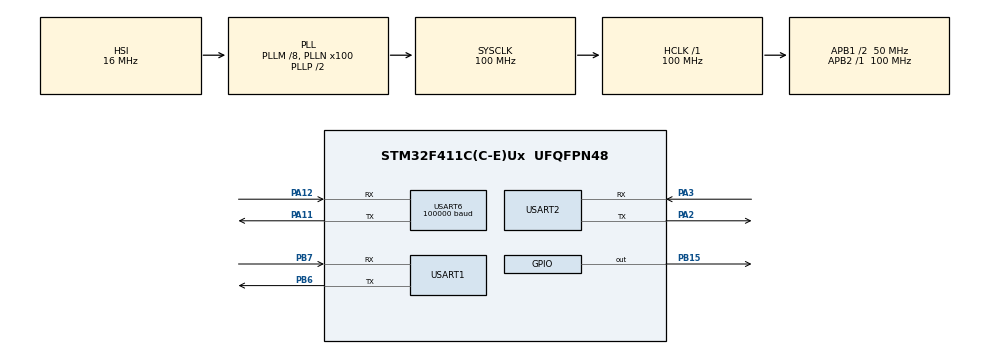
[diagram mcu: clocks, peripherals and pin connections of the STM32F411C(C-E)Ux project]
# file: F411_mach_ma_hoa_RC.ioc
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Dma.Request0=USART6_RX
Dma.Request1=USART1_TX
Dma.Request2=USART1_RX
Dma.USART1_RX.2.Direction=DMA_PERIPH_TO_MEMORY
Dma.USART1_RX.2.FIFOMode=DMA_FIFOMODE_DISABLE
Dma.USART1_RX.2.Instance=DMA2_Stream2
Dma.USART1_RX.2.MemDataAlignment=DMA_MDATAALIGN_BYTE
Dma.USART1_RX.2.MemInc=DMA_MINC_ENABLE
Dma.USART1_RX.2.Mode=DMA_NORMAL
Dma.USART1_RX.2.PeriphDataAlignment=DMA_PDATAALIGN_BYTE
Dma.USART1_RX.2.PeriphInc=DMA_PINC_DISABLE
Dma.USART1_RX.2.Priority=DMA_PRIORITY_LOW
Dma.USART1_TX.1.Direction=DMA_MEMORY_TO_PERIPH
Dma.USART1_TX.1.FIFOMode=DMA_FIFOMODE_DISABLE
Dma.USART1_TX.1.Instance=DMA2_Stream7
Dma.USART1_TX.1.MemDataAlignment=DMA_MDATAALIGN_BYTE
Dma.USART1_TX.1.MemInc=DMA_MINC_ENABLE
Dma.USART1_TX.1.Mode=DMA_NORMAL
Dma.USART1_TX.1.PeriphDataAlignment=DMA_PDATAALIGN_BYTE
Dma.USART1_TX.1.PeriphInc=DMA_PINC_DISABLE
Dma.USART1_TX.1.Priority=DMA_PRIORITY_LOW
Dma.USART6_RX.0.Direction=DMA_PERIPH_TO_MEMORY
Dma.USART6_RX.0.FIFOMode=DMA_FIFOMODE_DISABLE
Dma.USART6_RX.0.Instance=DMA2_Stream1
Dma.USART6_RX.0.MemDataAlignment=DMA_MDATAALIGN_BYTE
Dma.USART6_RX.0.MemInc=DMA_MINC_ENABLE
Dma.USART6_RX.0.Mode=DMA_CIRCULAR
Dma.USART6_RX.0.PeriphDataAlignment=DMA_PDATAALIGN_BYTE
Dma.USART6_RX.0.PeriphInc=DMA_PINC_DISABLE
Dma.USART6_RX.0.Priority=DMA_PRIORITY_LOW
Mcu.Family=STM32F4
Mcu.Name=STM32F411C(C-E)Ux
Mcu.Package=UFQFPN48
NVIC.DMA2_Stream1_IRQn=true\:0\:0\:false\:false\:true\:false\:true\:true
NVIC.DMA2_Stream2_IRQn=true\:0\:0\:false\:false\:true\:false\:true\:true
NVIC.DMA2_Stream7_IRQn=true\:0\:0\:false\:false\:true\:false\:true\:true
NVIC.PriorityGroup=NVIC_PRIORITYGROUP_4
NVIC.TIM3_IRQn=true\:0\:0\:false\:false\:true\:true\:true\:true
NVIC.USART1_IRQn=true\:0\:0\:false\:false\:true\:true\:true\:true
NVIC.USART2_IRQn=true\:0\:0\:false\:false\:true\:true\:true\:true
NVIC.USART6_IRQn=true\:0\:0\:false\:false\:true\:true\:true\:true
PA11.Mode=Asynchronous
PA11.Signal=USART6_TX
PA12.Mode=Asynchronous
PA12.Signal=USART6_RX
PA13.Mode=Serial_Wire
PA13.Signal=SYS_JTMS-SWDIO
PA14.Mode=Serial_Wire
PA14.Signal=SYS_JTCK-SWCLK
PA2.Mode=Asynchronous
PA2.Signal=USART2_TX
PA3.Mode=Asynchronous
PA3.Signal=USART2_RX
PB15.Signal=GPIO_Output
PB6.Mode=Asynchronous
PB6.Signal=USART1_TX
PB7.Mode=Asynchronous
PB7.Signal=USART1_RX
ProjectManager.HeapSize=0x200
ProjectManager.StackSize=0x400
ProjectManager.TargetToolchain=STM32CubeIDE
RCC.48MHZClocksFreq_Value=50000000
RCC.AHBFreq_Value=100000000
RCC.APB1CLKDivider=RCC_HCLK_DIV2
RCC.APB1Freq_Value=50000000
RCC.APB1TimFreq_Value=100000000
RCC.APB2Freq_Value=100000000
RCC.APB2TimFreq_Value=100000000
RCC.CortexFreq_Value=100000000
RCC.HCLKFreq_Value=100000000
RCC.HSE_VALUE=25000000
RCC.HSI_VALUE=16000000
RCC.LSE_VALUE=32768
RCC.PLLM=8
RCC.PLLN=100
RCC.SYSCLKFreq_VALUE=100000000
RCC.SYSCLKSource=RCC_SYSCLKSOURCE_PLLCLK
RCC.VCOOutputFreq_Value=200000000
TIM3.Period=1000-1
TIM3.Prescaler=1000-1
USART1.VirtualMode=VM_ASYNC
USART2.VirtualMode=VM_ASYNC
USART6.BaudRate=100000
USART6.Parity=PARITY_EVEN
USART6.StopBits=STOPBITS_2
USART6.VirtualMode=VM_ASYNC
USART6.WordLength=WORDLENGTH_9B
VP_TIM3_VS_ClockSourceINT.Mode=Internal
board=custom

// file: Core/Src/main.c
/* USER CODE BEGIN Header */
/**
 ******************************************************************************
 * @file           : main.c
 * @brief          : Main program body
 ******************************************************************************
 * @attention
 * chuyen che do auto: dong thoi switch phai gai xuong duoi + nhan button A sang
 * chuyen che do ngat SBUS_OUT: nhan button B sang
 * auto_control_frame [10]= 0xAA + 0x55 + scaled_rc_channel[4](R-P-T-Y) + UAV_mode + RC_mode + crc16[2] (low + high)
 * request_channel_frame [40] = 0xAA + 0xAF + rc_channel_raw[18*2] + crc16 (low + high)
 *
 * UART config: set wordleght = 9bit (include parity bit), 2 stop bit
 * TX_SBUS_timer = 10 ms (dont use TX_SBUS_DMA)
 *
 * Copyright (c) 2025 STMicroelectronics.
 * All rights reserved.
 *
 * This software is licensed under terms that can be found in the LICENSE file
 * in the root directory of this software component.
 * If no LICENSE file comes with this software, it is provided AS-IS.
 *
 ******************************************************************************
 */
/* USER CODE END Header */
#include "main.h"

/* USER CODE BEGIN Includes */
#include <stdio.h>
#include <string.h>
#include <stdbool.h>
#include "crc.h"
/* USER CODE END Includes */

/* USER CODE BEGIN PTD */

#define UART_DEBUG		huart1

#define DISABLE_SBUS_OUT_ENABLE    	0x00
#define AUTONOMUOS_RC_ENABLE      	0x01

#define SBUS_FRAME_LENGTH    	25
#define SBUS_HEADER           	0x0F
#define SBUS_FOOTER           	0x00

#define SBUS_SIGNAL_OK          0x00
#define SBUS_SIGNAL_LOST        0x01
#define SBUS_SIGNAL_FAILSAFE    0x03

#define CHANNEL_COUNT			18
// #define CHANNEL_MIN_VALUE		272
// #define CHANNEL_MID_VALUE		992
// #define CHANNEL_MAX_VALUE		1712

#define CHANNEL_MIN_VALUE		0
#define CHANNEL_MID_VALUE		992
#define CHANNEL_MAX_VALUE		2048

/* USER CODE END PTD */

TIM_HandleTypeDef htim3;

UART_HandleTypeDef huart1;
UART_HandleTypeDef huart2;
UART_HandleTypeDef huart6;
DMA_HandleTypeDef hdma_usart1_tx;
DMA_HandleTypeDef hdma_usart1_rx;
DMA_HandleTypeDef hdma_usart6_rx;

/* USER CODE BEGIN PV */
uint16_t failsafe_status;
uint16_t SBUS_footer;
uint8_t buf[SBUS_FRAME_LENGTH];
uint16_t CH[CHANNEL_COUNT];

uint8_t rx_usb_buf[10];
bool rx_usb_data_ok = false;
uint16_t rx_usb_cmp = 0;
uint16_t received_crc, calculated_crc;  // CRC nhận được và CRC tính toán
uint8_t scaled_roll; // scaled_roll in range (0-255)
uint8_t scaled_throttle;
uint8_t scaled_pitch;
uint8_t scaled_yaw;
uint8_t UAV_Mode;
uint8_t RC_Mode;
// autonomous control: 4 channels: roll, pitch, throttle, yaw
uint16_t CH_auto[4] = {CHANNEL_MID_VALUE, CHANNEL_MID_VALUE, CHANNEL_MID_VALUE, CHANNEL_MID_VALUE}; //init mid value -> UAV dung yen
uint8_t pre_catch_buf[1] = {0x00}; // buffer to catch head byte of SBUS
int pre_init_counter = 0;
bool start_counting = false;
bool catch_signal = false;

bool tx_sbus_flag = false;
uint16_t tx_sbus_flag_count = 0;
uint16_t sbus_tx_cmp = 0;
bool encode_sbus_tx_done = false;
uint8_t sbus_tx_buffer[SBUS_FRAME_LENGTH];

bool autonomous_status = false; // Biến để kiểm tra xem có phải chế độ điều khiển tự động hay không
bool disable_sbus_out_status = false; // Biến để kiểm tra xem có cần tắt SBUS_OUT hay không
bool valid_sbusframe_status = false; // Biến để kiểm tra tính hợp lệ của khung SBUS nhận được
/* USER CODE END PV */

void SystemClock_Config(void);
static void MX_GPIO_Init(void);
static void MX_DMA_Init(void);
static void MX_USART2_UART_Init(void);
static void MX_USART6_UART_Init(void);
static void MX_TIM3_Init(void);
static void MX_USART1_UART_Init(void);
/* USER CODE BEGIN PFP */

/**
 * @brief Function to redirect printf to UART for Debugging
 * @param file File descriptor (not used)
 * @param pData Pointer to data to be sent
 * @param len Length of data to be sent
 * @return Number of bytes written on success, -1 on failure
 */
#ifdef UART_DEBUG
int _write(int file, char *pData, int len)
{
	// Gửi dữ liệu qua UART1 với timeout 100ms (blocking)
	HAL_StatusTypeDef status = HAL_UART_Transmit(&UART_DEBUG, (uint8_t*)pData, len, 100);

	// Trả về len nếu thành công, -1 nếu thất bại
	if (status == HAL_OK) {
		return len;
	} else {
		return -1;  // Gửi thất bại (timeout, error, v.v.)
	}
}
#endif
/* USER CODE END PFP */

/* USER CODE BEGIN 0 */

/**
 * @brief Function to Update Failsafe Status from SBUS Buffer
 * @param sbus_buf Pointer to the SBUS buffer
 * @param failsafe_status Pointer to store the failsafe status
 * @return void
 */
void UpdateFailsafeStatus(uint8_t sbus_buf[SBUS_FRAME_LENGTH], uint16_t *failsafe_status)
{
	*failsafe_status = SBUS_SIGNAL_OK;
	if (sbus_buf[23] & (1 << 3))
		*failsafe_status = SBUS_SIGNAL_FAILSAFE;
	else if (sbus_buf[23] & (1 << 2))
		*failsafe_status = SBUS_SIGNAL_LOST;

	else
		*failsafe_status = SBUS_SIGNAL_OK;
}

/**
 * @brief Kiểm tra xem có phải chế độ điều khiển tự động hay không
 * @param CH Mảng chứa giá trị của 18 kênh
 * @return Trả về true nếu là chế độ điều khiển tự động, false nếu không
 */
bool IsAutonomousControl(uint16_t CH[CHANNEL_COUNT]){
	// Kiem tra channel 6 (Switch phai) va channel 8 (Button A)
	if (0 < CH[5] && CH[5] < 600 && 1200 < CH[7] && CH[7] < 2000) {
		// Neu channel 6 trong khoang (0, 600) va channel 8 trong khoang (1200, 2000), la che do tu dong
		return true;
	}
	return false;
}

bool IsDisableSbusOut(uint16_t CH[CHANNEL_COUNT]){

	// Kiem tra channel 9 (button B)
	if ( 1200 < CH[8] && CH[8] < 2000) {
		// Nếu channel 9 trong khoang (1200, 2000) (tương đương Button B bật), la che do ngắt sbus out
		return true;
	}
	return false;
}

bool IsValidSbusFrame(const uint8_t sbus_buf[SBUS_FRAME_LENGTH]) {
	// Kiểm tra header và footer
	if (sbus_buf[0] != SBUS_HEADER || sbus_buf[24] != SBUS_FOOTER) {
		printf("Invalid SBUS frame: Header %02X, Footer %02X\n", sbus_buf[0], sbus_buf[24]);
		return false; // Frame không hợp lệ
	}
	// Check digital channels
	// Use the passed-in buffer (sbus_buf) instead of global 'buf'
	if ((sbus_buf[23] & 0xF0) != 0x00) {
		printf("Invalid SBUS frame: Digital channels byte %02X\n", sbus_buf[23]);
		return false;
	}
	return true; // Frame hợp lệ
}

uint16_t cal_CH_auto_value(uint8_t scaled_value){
	uint32_t temp;
	temp = (scaled_value*(CHANNEL_MAX_VALUE- CHANNEL_MIN_VALUE))/255 + CHANNEL_MIN_VALUE;
	uint16_t CH_value;
	CH_value  = (uint16_t) temp;
	return CH_value;
}

uint8_t cal_scaled_value(uint16_t CH){
	uint32_t temp;
	temp = (255*(CH - CHANNEL_MIN_VALUE)) / (CHANNEL_MAX_VALUE - CHANNEL_MIN_VALUE);
	uint8_t scaled_value;
	scaled_value = (uint8_t) temp;
	return scaled_value;
}

/**
 * @brief Chuyển đổi giá trị kênh sang định dạng SBUS
 * @param CH Mảng chứa giá trị của 18 kênh
 * @return Trả về mảng đã mã hóa SBUS
 */
void ChannelToSbus(const uint16_t CH[CHANNEL_COUNT], uint8_t sbus[SBUS_FRAME_LENGTH]) {

	// Check if the channel values are within the valid range
	// for (int i = 0; i < 18; i++) {
	// 	if (CH[i] < CHANNEL_MIN_VALUE || CH[i] > CHANNEL_MAX_VALUE) {
	// 		return 1; // Invalid channel value
	// 	}
	// }

	// Header
	sbus[0] = SBUS_HEADER;

	sbus[1]  = (uint8_t)(CH[0] & 0xFF);
	sbus[2]  = (uint8_t)(((CH[0] >> 8) & 0x07) | ((CH[1] << 3) & 0xF8));
	sbus[3]  = (uint8_t)(((CH[1] >> 5) & 0x3F) | ((CH[2] << 6) & 0xC0));
	sbus[4]  = (uint8_t)((CH[2] >> 2) & 0xFF);
	sbus[5]  = (uint8_t)(((CH[2] >> 10) & 0x01) | ((CH[3] << 1) & 0xFE));
	sbus[6]  = (uint8_t)(((CH[3] >> 7) & 0x0F) | ((CH[4] << 4) & 0xF0));
	sbus[7]  = (uint8_t)(((CH[4] >> 4) & 0x7F) | ((CH[5] << 7) & 0x80));
	sbus[8]  = (uint8_t)((CH[5] >> 1) & 0xFF);
	sbus[9]  = (uint8_t)(((CH[5] >> 9) & 0x03) | ((CH[6] << 2) & 0xFC));
	sbus[10] = (uint8_t)(((CH[6] >> 6) & 0x1F) | ((CH[7] << 5) & 0xE0));
	sbus[11] = (uint8_t)((CH[7] >> 3) & 0xFF);
	sbus[12] = (uint8_t)(CH[8] & 0xFF);
	sbus[13] = (uint8_t)(((CH[8] >> 8) & 0x07) | ((CH[9] << 3) & 0xF8));
	sbus[14] = (uint8_t)(((CH[9] >> 5) & 0x3F) | ((CH[10] << 6) & 0xC0));
	sbus[15] = (uint8_t)((CH[10] >> 2) & 0xFF);
	sbus[16] = (uint8_t)(((CH[10] >> 10) & 0x01) | ((CH[11] << 1) & 0xFE));
	sbus[17] = (uint8_t)(((CH[11] >> 7) & 0x0F) | ((CH[12] << 4) & 0xF0));
	sbus[18] = (uint8_t)(((CH[12] >> 4) & 0x7F) | ((CH[13] << 7) & 0x80));
	sbus[19] = (uint8_t)((CH[13] >> 1) & 0xFF);
	sbus[20] = (uint8_t)(((CH[13] >> 9) & 0x03) | ((CH[14] << 2) & 0xFC));
	sbus[21] = (uint8_t)(((CH[14] >> 6) & 0x1F) | ((CH[15] << 5) & 0xE0));
	sbus[22] = (uint8_t)((CH[15] >> 3) & 0xFF);

	// Digital channels and failsafe flags
	sbus[23] = 0x00;

	// Thiết lập các kênh digital
	if (CH[16] == 1) {
		sbus[23] |= (1 << 0);  // CH17 (Digital)
	}

	if (CH[17] == 1) {
		sbus[23] |= (1 << 1);  // CH18 (Digital)
	}
	// Footer
	sbus[24] = SBUS_FOOTER;
}

/**
 * @brief Chuyển đổi dữ liệu SBUS sang mảng kênh
 * @param sbus Mảng chứa dữ liệu SBUS
 * @param CH Mảng để lưu giá trị của 18 kênh
 */
void SbusToChannel(const uint8_t sbus[SBUS_FRAME_LENGTH], uint16_t CH[CHANNEL_COUNT])
{
	// Kiểm tra header
	if (sbus[0] != SBUS_HEADER || sbus[24] != SBUS_FOOTER) {
		// Có thể reset mảng CH về giá trị mặc định nếu cần
		// memset(CH, 0, sizeof(uint16_t) * 18);
		// return;
		printf("Invalid SBUS header: %02X\n", sbus[0]);
	}

	CH[0]  = (sbus[1]      	| (sbus[2] << 8)) & 0x07FF;
	CH[1]  = ((sbus[2] >> 3) | (sbus[3] << 5)) & 0x07FF;
	CH[2]  = ((sbus[3] >> 6) | (sbus[4] << 2) | (sbus[5] << 10)) & 0x07FF;
	CH[3]  = ((sbus[5] >> 1) | (sbus[6] << 7)) & 0x07FF;
	CH[4]  = ((sbus[6] >> 4) | (sbus[7] << 4)) & 0x07FF;
	CH[5]  = ((sbus[7] >> 7) | (sbus[8] << 1) | ((sbus[9] & 0x03) << 9)) & 0x07FF;
	CH[6]  = ((sbus[9] >> 2) | (sbus[10] << 6)) & 0x07FF;
	CH[7]  = ((sbus[10] >> 5) | (sbus[11] << 3)) & 0x07FF;
	CH[8]  = (sbus[12] | (sbus[13] << 8)) & 0x07FF;
	CH[9]  = ((sbus[13] >> 3) | (sbus[14] << 5)) & 0x07FF;
	CH[10] = ((sbus[14] >> 6) | (sbus[15] << 2) | (sbus[16] << 10)) & 0x07FF;
	CH[11] = ((sbus[16] >> 1) | (sbus[17] << 7)) & 0x07FF;
	CH[12] = ((sbus[17] >> 4) | (sbus[18] << 4)) & 0x07FF;
	CH[13] = ((sbus[18] >> 7) | (sbus[19] << 1) | (sbus[20] << 9)) & 0x07FF;
	CH[14] = ((sbus[20] >> 2) | (sbus[21] << 6)) & 0x07FF;
	CH[15] = ((sbus[21] >> 5) | (sbus[22] << 3)) & 0x07FF;

	/**
	 * Lấy bit số 0 (bit thấp nhất) của byte thứ 24 trong mảng SBUS (sbus[23]).
	 * Nếu bit này bằng 1, thì CH[16] = 1; nếu bit này bằng 0, thì CH[16] = 0.
	 * Tương tự cho CH[17].
	 */
	CH[16] = (sbus[23] & (1 << 0)) ? 1 : 0;
	CH[17] = (sbus[23] & (1 << 1)) ? 1 : 0;
}

/**
 * @brief Kiểm tra mã hóa và giải mã Channel
 * @note Hàm này sẽ kiểm tra tính đúng đắn của mã hóa và giải mã Channel
 * @return void
 */
void test_channel_codec(void)
{
	// 1. Tạo mảng Channel mẫu
	uint16_t channel_test[CHANNEL_COUNT] = {
			272, 500, 800, 1000,
			1200, 1400, 1600, 1712,
			900, 1100, 1300, 1500,
			1700, 272, 1712, 992, 1, 0
	};
	uint8_t sbus_buf[SBUS_FRAME_LENGTH] = {0};
	uint16_t channel_result[CHANNEL_COUNT] = {0};

	// 2. Channel -> SBUS
	ChannelToSbus(channel_test, sbus_buf);

	// 3. SBUS -> Channel
	SbusToChannel(sbus_buf, channel_result);

	// 4. So sánh kết quả
	int match = 1;
	int channel_count = sizeof(channel_result) / sizeof(channel_result[0]);
	for (int i = 0; i < channel_count; i++) {
		if (channel_test[i] != channel_result[i]) {
			match = 0;
			break;
		}
	}

	if (match) {
		printf("Test PASSED: Channel encode/decode OK!\r\n");
	} else {
		printf("Test FAILED: Channel encode/decode mismatch!\r\n");
		printf("Original: ");
		for (int i = 0; i < channel_count; i++) printf("%4d ", channel_test[i]);
		printf("\r\nResult:   ");
		for (int i = 0; i < channel_count; i++) printf("%4d ", channel_result[i]);
		printf("\r\n");
	}
}

/**
 * @brief Kiểm tra mã hóa và giải mã SBUS
 * @note Hàm này sẽ kiểm tra tính đúng đắn của mã hóa và giải mã SBUS
 * @return void
 */
void test_sbus_codec()
{
	// 1. Mẫu thử SBUS
	uint8_t sbus_test[SBUS_FRAME_LENGTH] = {
			0x0F,0xE0,0x03,0x1F,0xF8,
			0xC0,0x07,0x3E,0x88,0x80,
			0x0F,0xD6,0x10,0x81,0x08,
			0x44,0xC0,0x07,0x3E,0x80,
			0xC3,0x1A,0x22,0x00,0x00
	};
	uint16_t CH_test[CHANNEL_COUNT] = {0};
	uint8_t sbus_result[SBUS_FRAME_LENGTH] = {0};

	// 2. Giải mã SBUS -> Channel
	SbusToChannel(sbus_test, CH_test);

	// 3. Mã hóa lại Channel -> SBUS
	ChannelToSbus(CH_test, sbus_result);

	// 4. So sánh kết quả
	int match = 1;
	int sbus_size = sizeof(sbus_result) / sizeof(sbus_result[0]);
	for (int i = 0; i < sbus_size; i++) {
		if (sbus_test[i] != sbus_result[i]) {
			match = 0;
			break;
		}
	}

	if (match) {
		printf("Test PASSED: SBUS encode/decode OK!\r\n");
	} else {
		printf("Test FAILED: SBUS encode/decode mismatch!\r\n");
		printf("Original: ");
		for (int i = 0; i < sbus_size; i++) printf("%02X ", sbus_test[i]);
		printf("\r\nResult:   ");
		for (int i = 0; i < sbus_size; i++) printf("%02X ", sbus_result[i]);
		printf("\r\n");
	}
}

/**
 * @brief Kiểm tra mã hóa và giải mã CRC
 * @note Hàm này sẽ kiểm tra tính đúng đắn của mã hóa và giải mã CRC-16
 * @return void
 */
void test_crc_data_codec(void)
{
	// 1. Mảng dữ liệu mẫu (8 byte dữ liệu + 2 byte CRC mẫu)
	uint8_t crc_data[10] = {0xAA, 0x55, 0x7F, 0x7F, 0x7F, 0x7F, 0x7F, 0x02, 0x58, 0xF1};
	uint16_t crc_value, crc_rx;

	// 2. Tính CRC cho 8 byte đầu
	crc_value = calculate_crc16(crc_data, 8);

	// 3. Lấy CRC mẫu từ 2 byte cuối
	crc_rx = (crc_data[8]) | (crc_data[9] << 8);

	// 4. So sánh và in kết quả
	if (crc_value == crc_rx) {
		printf("Test PASSED: CRC encode/decode OK! (0x%04X)\r\n", crc_value);
	} else {
		printf("Test FAILED: CRC mismatch!\r\n");
		printf("Calculated CRC: 0x%04X, Received CRC: 0x%04X\r\n", crc_value, crc_rx);
	}
}

void HAL_TIM_PeriodElapsedCallback(TIM_HandleTypeDef *htim){
	if (htim->Instance == htim3.Instance){
		tx_sbus_flag = true;
		tx_sbus_flag_count++;
	}
}

void HAL_UART_RxCpltCallback(UART_HandleTypeDef *huart)
{
	if (huart->Instance == huart6.Instance){
		// kiem tra head_byte
		if (pre_catch_buf[0] == 0x0F) start_counting = true;
		// bo qua 24 byte con lai
		if (pre_init_counter < 24 && start_counting == true)
		{
			pre_init_counter++;
			return;
		}
		else if (catch_signal == false)
		{
			catch_signal = true;
			memset(buf, 0, SBUS_FRAME_LENGTH);  // Clear buffer trước khi nhận frame mới
			HAL_UART_AbortReceive(&huart6); // thoat khoi ham receive dang chay
			HAL_UART_Receive_DMA(&huart6, buf, SBUS_FRAME_LENGTH); // bat dau nhan 25 byte SBUS
			return;

		}

		if (IsValidSbusFrame(buf))
		{
			SbusToChannel(buf, CH); // Chuyển đổi SBUS sang kênh
			if(AUTONOMUOS_RC_ENABLE){
				autonomous_status = IsAutonomousControl(CH); // Kiểm tra chế độ điều khiển tự động
			}
			if (DISABLE_SBUS_OUT_ENABLE){
				disable_sbus_out_status = IsDisableSbusOut(CH); // Kiểm tra chế độ tắt SBUS_OUT
			}
			UpdateFailsafeStatus(buf, &failsafe_status); // Cập nhật trạng thái failsafe từ SBUS
		}
		else
		{
			catch_signal = false; // Reset catch_signal để có thể nhận lại tín hiệu SBUS mới
			start_counting = false;
			pre_init_counter = 0;
			memset(buf, 0, SBUS_FRAME_LENGTH);  // Clear buffer để tránh dữ liệu cũ bị hỏng
			HAL_UART_AbortReceive(&huart6); // Hủy quá trình nhận hiện tại
			HAL_UART_Receive_DMA(&huart6, pre_catch_buf, 1);
			/**
			 * Bắt đầu lại quá trình nhận 1 byte để kiểm tra head_byte
			 * Nếu nhận được head_byte đúng (0x0F), sẽ tiếp tục nhận 24 byte SBUS
			 * Nếu không nhận được head_byte đúng, sẽ tiếp tục nhận 1 byte để kiểm tra
			 */
			// return;
		}
	}
	if (huart->Instance == huart2.Instance){
		// Echo lại dữ liệu nhận được từ USB UART
		if (rx_usb_buf[0] == 0xAA && rx_usb_buf[1] == 0x55){
			HAL_UART_Transmit(&huart2, rx_usb_buf, 10, 10);
			// kiem tra crc
			calculated_crc = calculate_crc16(rx_usb_buf, 8); // CRC của dữ liệu (không bao gồm 2 byte CRC cuối)
			received_crc = (rx_usb_buf[8] | (rx_usb_buf[9] << 8)); // Lấy CRC nhận từ 2 byte cuối của dữ liệu
			if(calculated_crc == received_crc){
				scaled_roll = rx_usb_buf[2]; //scale_roll 0-255
				scaled_pitch = rx_usb_buf[3];
				scaled_throttle = rx_usb_buf[4];
				scaled_yaw = rx_usb_buf[5];
				UAV_Mode = rx_usb_buf[6]; // 0x7F
				RC_Mode = rx_usb_buf[7]; // mode = 1 -> rc_control; mode = 2 ->autonomous_control;

				rx_usb_data_ok = true;
			} else rx_usb_data_ok = false;
		}
		else if (rx_usb_buf[0] == 0xAA && rx_usb_buf[1] == 0xAF) {
			// kiem tra crc
			calculated_crc = calculate_crc16(rx_usb_buf, 8); // CRC của dữ liệu (không bao gồm 2 byte CRC cuối)
			received_crc = (rx_usb_buf[8] | (rx_usb_buf[9] << 8)); // Lấy CRC nhận từ 2 byte cuối của dữ liệu
			if(calculated_crc == received_crc){
				uint8_t ch_buf[36];
				for (int i = 0; i < 18; i++) {
					ch_buf[2*i] = (uint8_t)(CH[i] & 0xFF);
					ch_buf[2*i+1] = (uint8_t)((CH[i] >> 8) & 0xFF);
					/**
					 *  channels_raw = await asyncio.wait_for(self.reader.readexactly(36), timeout=0.2)
              channels = [channels_raw[i] | (channels_raw[i+1] << 8) for i in range(0, 36, 2)]
					 */
				}
				// HAL_UART_Transmit(&huart2, ch_buf, 36, 20);
				uint16_t crc_value = calculate_crc16(ch_buf, 36);
				uint8_t output_buf[2 + 36 +2];
				output_buf[0] = 0xAA;
				output_buf[1] = 0xAF;
				memcpy(&output_buf[2], ch_buf, 36);
				output_buf[38] = (uint8_t)(crc_value & 0xFF); // CRC low byte
				output_buf[39] = (uint8_t)((crc_value >> 8) & 0xFF); // CRC high byte
				HAL_UART_Transmit(&huart2, output_buf, 40, 20);
			}
		}

		HAL_UART_Receive_IT(&huart2, rx_usb_buf, 10);

	}
}

/**
 * @brief UART error callback
 * Called by HAL when an UART error occurs (framing, noise, overrun, etc.).
 * We use this to restart reception on huart6 so that reconnects/resynchronization work.
 */
void HAL_UART_ErrorCallback(UART_HandleTypeDef *huart)
{
	if (huart->Instance == huart6.Instance) {
		// Attempt to abort any ongoing transfers and restart reception of the head-byte
		HAL_UART_AbortReceive(&huart6);
		// Clear any DMA/USART error flags handled by HAL implicitly; add debug print
		printf("HAL_UART_ErrorCallback: huart6 error, restarting DMA receive\r\n");
		if (HAL_UART_Receive_DMA(&huart6, pre_catch_buf, 1) != HAL_OK) {
			// If restart failed, try a small delay and try again
			printf("HAL_UART_ErrorCallback: failed to restart huart6 DMA receive\r\n");
		}
	}
	if (huart->Instance == huart2.Instance) {
		// Restart receive
		HAL_UART_AbortReceive(&huart2);
		if (HAL_UART_Receive_IT(&huart2, rx_usb_buf, 10) != HAL_OK) {
			printf("[USB ERROR] Failed to restart after error\r\n");
		}
	}
}
/* USER CODE END 0 */

int main(void)
{

  /* MCU Configuration--------------------------------------------------------*/

  /* Reset of all peripherals, Initializes the Flash interface and the Systick. */
  HAL_Init();

  /* Configure the system clock */
  SystemClock_Config();

  /* Initialize all configured peripherals */
  MX_GPIO_Init();
  MX_DMA_Init();
  MX_USART2_UART_Init();
  MX_USART6_UART_Init();
  MX_TIM3_Init();
  MX_USART1_UART_Init();
  /* USER CODE BEGIN 2 */
	HAL_UART_Receive_IT(&huart2, rx_usb_buf, 10); // Start receiving data from USB UART
	// Start receiving 1 byte head check from SBUS (AirUnit) via DMA so we can detect frame head (0x0F)
	// This ensures huart6 RX is active from boot and will be restarted after disconnects.
	if (HAL_UART_Receive_DMA(&huart6, pre_catch_buf, 1) != HAL_OK) {
		printf("[WARN]: Failed to start huart6 DMA reception at init\r\n");
	}
	HAL_TIM_Base_Start_IT(&htim3); // Start timer for SBUS transmission
	printf("[INFO]: Setup All\r\n");
  /* USER CODE END 2 */

  /* Infinite loop */
  /* USER CODE BEGIN WHILE */
	while (1)
	{

		if (tx_sbus_flag == true){
			HAL_UART_Receive_DMA(&huart6, pre_catch_buf, 1);
			// UpdateFailsafeStatus(buf, &failsafe_status);
			memcpy(sbus_tx_buffer, buf, SBUS_FRAME_LENGTH);

			if (autonomous_status == true){
//				if (rx_usb_data_ok == true){
//					// ghi đè dữ liệu 4 kênh roll, pitch, throttle, yaw
//					CH_auto[0] = cal_CH_auto_value(scaled_roll);
//					CH_auto[1] = cal_CH_auto_value(scaled_pitch);
//					CH_auto[2] = cal_CH_auto_value(scaled_throttle);
//					CH_auto[3] = cal_CH_auto_value(scaled_yaw);
//
//					rx_usb_cmp++;
//					rx_usb_data_ok = false;
//				}
				CH_auto[0] = cal_CH_auto_value(scaled_roll);
				CH_auto[1] = cal_CH_auto_value(scaled_pitch);
				CH_auto[2] = cal_CH_auto_value(scaled_throttle);
				CH_auto[3] = cal_CH_auto_value(scaled_yaw);

				// Chuyển đổi kênh sang SBUS_OUT_AUTO
				sbus_tx_buffer[1] = (uint8_t) (CH_auto[0] & 0xFF);
				sbus_tx_buffer[2] = (uint8_t) ((CH_auto[0] >> 8) & 0x07) | ((CH_auto[1] << 3) & 0xF8);
				sbus_tx_buffer[3] = (uint8_t) ((CH_auto[1] >> 5) & 0x3F) | ((CH_auto[2] << 9) & 0xC0);
				sbus_tx_buffer[4] = (uint8_t) ((CH_auto[2] >> 2) & 0xFF);
				sbus_tx_buffer[5] = (uint8_t) ((CH_auto[2] >> 10) & 0x01) | ((CH_auto[3] << 1) & 0xFE);
				sbus_tx_buffer[6] = (uint8_t) ((CH_auto[3] >> 7) & 0x0F) | ((CH[4] << 4) & 0xF0);

			}
			sbus_tx_buffer[23] &= ~((1 << 2) | (1 << 3)); // Xóa cả 2 bit failsafe và lost
			// Gửi dữ liệu SBUS qua UART, tan so gui 100Hz (T_sbus = 10ms)
			// Kiểm tra xem có cần tắt SBUS_OUT hay không
			if (disable_sbus_out_status == false) {
				// Nếu cho phép SBUS_OUT, mã hóa dữ liệu SBUS và gửi
				HAL_UART_Transmit(&huart6, sbus_tx_buffer, SBUS_FRAME_LENGTH, 10);
			} else {
				// Nếu chặn SBUS_OUT, có thể gửi một mảng SBUS rỗng hoặc không gửi gì cả
				//        memset(sbus_tx_buffer, 0, sizeof(sbus_tx_buffer)); // Gửi mảng rỗng
				//        HAL_UART_Transmit(&huart6, sbus_tx_buffer, 25, 10);
			}

			sbus_tx_cmp++;
			tx_sbus_flag = false;
			HAL_GPIO_TogglePin(GPIOB, GPIO_PIN_15); // Toggle LED to indicate SBUS transmission
		}
    /* USER CODE END WHILE */

	}
}

void SystemClock_Config(void)
{
  RCC_OscInitTypeDef RCC_OscInitStruct = {0};
  RCC_ClkInitTypeDef RCC_ClkInitStruct = {0};

  /** Configure the main internal regulator output voltage
  */
  __HAL_RCC_PWR_CLK_ENABLE();
  __HAL_PWR_VOLTAGESCALING_CONFIG(PWR_REGULATOR_VOLTAGE_SCALE1);

  /** Initializes the RCC Oscillators according to the specified parameters
  * in the RCC_OscInitTypeDef structure.
  */
  RCC_OscInitStruct.OscillatorType = RCC_OSCILLATORTYPE_HSI;
  RCC_OscInitStruct.HSIState = RCC_HSI_ON;
  RCC_OscInitStruct.HSICalibrationValue = RCC_HSICALIBRATION_DEFAULT;
  RCC_OscInitStruct.PLL.PLLState = RCC_PLL_ON;
  RCC_OscInitStruct.PLL.PLLSource = RCC_PLLSOURCE_HSI;
  RCC_OscInitStruct.PLL.PLLM = 8;
  RCC_OscInitStruct.PLL.PLLN = 100;
  RCC_OscInitStruct.PLL.PLLP = RCC_PLLP_DIV2;
  RCC_OscInitStruct.PLL.PLLQ = 4;
  if (HAL_RCC_OscConfig(&RCC_OscInitStruct) != HAL_OK)
  {
    Error_Handler();
  }

  /** Initializes the CPU, AHB and APB buses clocks
  */
  RCC_ClkInitStruct.ClockType = RCC_CLOCKTYPE_HCLK|RCC_CLOCKTYPE_SYSCLK
                              |RCC_CLOCKTYPE_PCLK1|RCC_CLOCKTYPE_PCLK2;
  RCC_ClkInitStruct.SYSCLKSource = RCC_SYSCLKSOURCE_PLLCLK;
  RCC_ClkInitStruct.AHBCLKDivider = RCC_SYSCLK_DIV1;
  RCC_ClkInitStruct.APB1CLKDivider = RCC_HCLK_DIV2;
  RCC_ClkInitStruct.APB2CLKDivider = RCC_HCLK_DIV1;

  if (HAL_RCC_ClockConfig(&RCC_ClkInitStruct, FLASH_LATENCY_3) != HAL_OK)
  {
    Error_Handler();
  }
}

static void MX_TIM3_Init(void)
{

  TIM_ClockConfigTypeDef sClockSourceConfig = {0};
  TIM_MasterConfigTypeDef sMasterConfig = {0};

  htim3.Instance = TIM3;
  htim3.Init.Prescaler = 1000-1;
  htim3.Init.CounterMode = TIM_COUNTERMODE_UP;
  htim3.Init.Period = 1000-1;
  htim3.Init.ClockDivision = TIM_CLOCKDIVISION_DIV1;
  htim3.Init.AutoReloadPreload = TIM_AUTORELOAD_PRELOAD_DISABLE;
  if (HAL_TIM_Base_Init(&htim3) != HAL_OK)
  {
    Error_Handler();
  }
  sClockSourceConfig.ClockSource = TIM_CLOCKSOURCE_INTERNAL;
  if (HAL_TIM_ConfigClockSource(&htim3, &sClockSourceConfig) != HAL_OK)
  {
    Error_Handler();
  }
  sMasterConfig.MasterOutputTrigger = TIM_TRGO_RESET;
  sMasterConfig.MasterSlaveMode = TIM_MASTERSLAVEMODE_DISABLE;
  if (HAL_TIMEx_MasterConfigSynchronization(&htim3, &sMasterConfig) != HAL_OK)
  {
    Error_Handler();
  }

}

static void MX_USART1_UART_Init(void)
{

  huart1.Instance = USART1;
  huart1.Init.BaudRate = 115200;
  huart1.Init.WordLength = UART_WORDLENGTH_8B;
  huart1.Init.StopBits = UART_STOPBITS_1;
  huart1.Init.Parity = UART_PARITY_NONE;
  huart1.Init.Mode = UART_MODE_TX_RX;
  huart1.Init.HwFlowCtl = UART_HWCONTROL_NONE;
  huart1.Init.OverSampling = UART_OVERSAMPLING_16;
  if (HAL_UART_Init(&huart1) != HAL_OK)
  {
    Error_Handler();
  }

}

static void MX_USART2_UART_Init(void)
{

  huart2.Instance = USART2;
  huart2.Init.BaudRate = 115200;
  huart2.Init.WordLength = UART_WORDLENGTH_8B;
  huart2.Init.StopBits = UART_STOPBITS_1;
  huart2.Init.Parity = UART_PARITY_NONE;
  huart2.Init.Mode = UART_MODE_TX_RX;
  huart2.Init.HwFlowCtl = UART_HWCONTROL_NONE;
  huart2.Init.OverSampling = UART_OVERSAMPLING_16;
  if (HAL_UART_Init(&huart2) != HAL_OK)
  {
    Error_Handler();
  }

}

static void MX_USART6_UART_Init(void)
{

  huart6.Instance = USART6;
  huart6.Init.BaudRate = 100000;
  huart6.Init.WordLength = UART_WORDLENGTH_9B;
  huart6.Init.StopBits = UART_STOPBITS_2;
  huart6.Init.Parity = UART_PARITY_EVEN;
  huart6.Init.Mode = UART_MODE_TX_RX;
  huart6.Init.HwFlowCtl = UART_HWCONTROL_NONE;
  huart6.Init.OverSampling = UART_OVERSAMPLING_16;
  if (HAL_UART_Init(&huart6) != HAL_OK)
  {
    Error_Handler();
  }

}

static void MX_DMA_Init(void)
{

  /* DMA controller clock enable */
  __HAL_RCC_DMA2_CLK_ENABLE();

  /* DMA interrupt init */
  /* DMA2_Stream1_IRQn interrupt configuration */
  HAL_NVIC_SetPriority(DMA2_Stream1_IRQn, 0, 0);
  HAL_NVIC_EnableIRQ(DMA2_Stream1_IRQn);
  /* DMA2_Stream2_IRQn interrupt configuration */
  HAL_NVIC_SetPriority(DMA2_Stream2_IRQn, 0, 0);
  HAL_NVIC_EnableIRQ(DMA2_Stream2_IRQn);
  /* DMA2_Stream7_IRQn interrupt configuration */
  HAL_NVIC_SetPriority(DMA2_Stream7_IRQn, 0, 0);
  HAL_NVIC_EnableIRQ(DMA2_Stream7_IRQn);

}

static void MX_GPIO_Init(void)
{
  GPIO_InitTypeDef GPIO_InitStruct = {0};

  /* GPIO Ports Clock Enable */
  __HAL_RCC_GPIOA_CLK_ENABLE();
  __HAL_RCC_GPIOB_CLK_ENABLE();

  /*Configure GPIO pin Output Level */
  HAL_GPIO_WritePin(GPIOB, GPIO_PIN_15, GPIO_PIN_RESET);

  /*Configure GPIO pin : PB15 */
  GPIO_InitStruct.Pin = GPIO_PIN_15;
  GPIO_InitStruct.Mode = GPIO_MODE_OUTPUT_PP;
  GPIO_InitStruct.Pull = GPIO_NOPULL;
  GPIO_InitStruct.Speed = GPIO_SPEED_FREQ_LOW;
  HAL_GPIO_Init(GPIOB, &GPIO_InitStruct);

}

void Error_Handler(void)
{
	__disable_irq();
	while (1)
	{
	}
}
